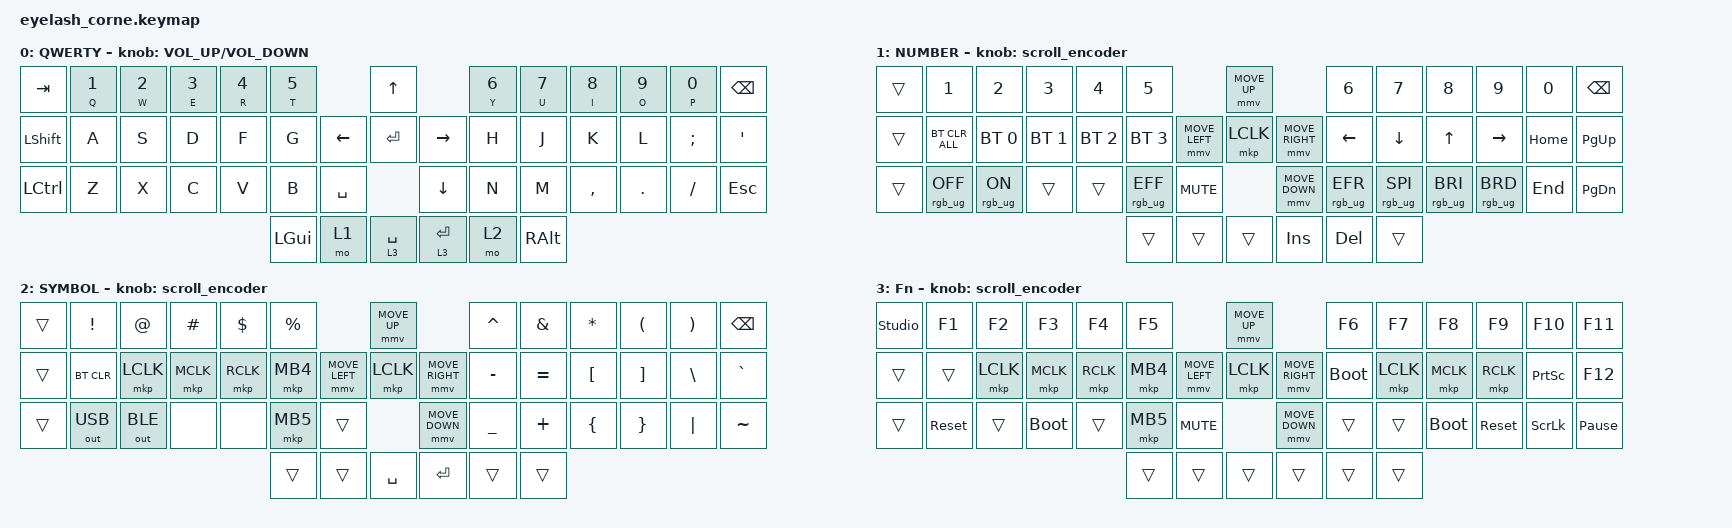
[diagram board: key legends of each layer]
#define ZMK_POINTING_DEFAULT_MOVE_VAL 1200  // 600
#define ZMK_POINTING_DEFAULT_SCRL_VAL 25   // 10

#include <input/processors.dtsi>
#include <zephyr/dt-bindings/input/input-event-codes.h>
#include <behaviors.dtsi>
#include <dt-bindings/zmk/bt.h>
#include <dt-bindings/zmk/keys.h>
#include <dt-bindings/zmk/outputs.h>
#include <dt-bindings/zmk/pointing.h>
#include <dt-bindings/zmk/rgb.h>

&mmv_input_listener {
  input-processors = <&zip_xy_scaler 2 1>;
};

&msc_input_listener {
  input-processors = <&zip_scroll_scaler 2 1>;
};

&msc {
    acceleration-exponent = <1>;      // 0
    time-to-max-speed-ms = <100>;     // 300
    delay-ms = <0>;                   // 0
};

&mmv {
    time-to-max-speed-ms = <500>;
    acceleration-exponent = <1>;
    trigger-period-ms = <16>;
};

&soft_off {
  hold-time-ms = <2000>;
};

/ {
    behaviors {
        ht: hold_tap {
            compatible = "zmk,behavior-hold-tap";
            display-name = "Hold+Tap";
            bindings = <&kp>, <&kp>;
            #binding-cells = <2>;
            tapping-term-ms = <125>;
            flavor = "tap-preferred";
            quick-tap-ms = <200>;
        };
        ht00: hold_tap_00 {
            compatible = "zmk,behavior-hold-tap";
            display-name = "Hold+Tap <100>";
            bindings = <&kp>, <&kp>;
            #binding-cells = <2>;
            tapping-term-ms = <100>;
            flavor = "tap-preferred";
            quick-tap-ms = <200>;
        };
        ht10: hold_tap_10 {
            compatible = "zmk,behavior-hold-tap";
            display-name = "Hold+Tap <110>";
            bindings = <&kp>, <&kp>;
            #binding-cells = <2>;
            tapping-term-ms = <110>;
            flavor = "tap-preferred";
            quick-tap-ms = <200>;
        };
        ht20: hold_tap_20 {
            compatible = "zmk,behavior-hold-tap";
            display-name = "Hold+Tap <120>";
            bindings = <&kp>, <&kp>;
            #binding-cells = <2>;
            tapping-term-ms = <120>;
            flavor = "tap-preferred";
            quick-tap-ms = <200>;
        };
        ht30: hold_tap_30 {
            compatible = "zmk,behavior-hold-tap";
            display-name = "Hold+Tap <130>";
            bindings = <&kp>, <&kp>;
            #binding-cells = <2>;
            tapping-term-ms = <130>;
            flavor = "tap-preferred";
            quick-tap-ms = <200>;
        };
        ht40: hold_tap_40 {
            compatible = "zmk,behavior-hold-tap";
            display-name = "Hold+Tap <140>";
            bindings = <&kp>, <&kp>;
            #binding-cells = <2>;
            tapping-term-ms = <140>;
            flavor = "tap-preferred";
            quick-tap-ms = <200>;
        };
        ht50: hold_tap_50 {
            compatible = "zmk,behavior-hold-tap";
            display-name = "Hold+Tap <150>";
            bindings = <&kp>, <&kp>;
            #binding-cells = <2>;
            tapping-term-ms = <150>;
            flavor = "tap-preferred";
            quick-tap-ms = <200>;
        };
    };

    rgb_encoder: rgb_encoder {
        compatible = "zmk,behavior-sensor-rotate";
        #sensor-binding-cells = <0>;
        bindings = <&rgb_ug RGB_BRI>, <&rgb_ug RGB_BRD>;
    };

    scroll_encoder: scroll_encoder {
        compatible = "zmk,behavior-sensor-rotate";
        #sensor-binding-cells = <0>;
        bindings = <&msc SCRL_DOWN>, <&msc SCRL_UP>;
        tap-ms = <100>;
    };

    combos {
        compatible = "zmk,combos";

        softoff {
            bindings = <&soft_off>;
            key-positions = <1 15 29>;
        };
    };

    keymap {
        compatible = "zmk,keymap";

        default_layer {
            display-name = "QWERTY";
            bindings = <
&kp TAB    &ht20 Q N1  &ht20 W N2  &ht20 E N3     &ht20 R N4  &ht20 T N5                                                              &kp UP                   &ht20 Y N6         &ht20 U N7             &ht20 I N8           &ht20 O N9                    &ht20 P N0               &kp BSPC
&kp LEFT_SHIFT    &kp A  &kp S  &kp D  &kp F  &kp G                     &kp LEFT  &kp ENTER  &kp RIGHT      &kp H   &kp J   &kp K   &kp L   &kp SEMICOLON   &kp SQT
&kp LCTRL  &kp Z  &kp X  &kp C     &kp V  &kp B        &kp SPACE                                                        &kp DOWN                 &kp N         &kp M           &kp COMMA        &kp DOT                 &kp FSLH              &kp ESC
                                                                                        &kp LGUI  &mo 1  &lt 3 SPACE                           &lt 3 ENTER  &mo 2  &kp RALT
            >;

            sensor-bindings = <&inc_dec_kp C_VOLUME_UP C_VOLUME_DOWN>;
        };

        lower_layer {
            display-name = "NUMBER";
            bindings = <
&trans  &kp N1           &kp N2          &kp N3        &kp N4        &kp N5                                                                     &mmv MOVE_UP                     &kp N6           &kp N7           &kp N8           &kp N9           &kp N0    &kp BSPC
&trans  &bt BT_CLR_ALL   &bt BT_SEL 0    &bt BT_SEL 1  &bt BT_SEL 2  &bt BT_SEL 3                                               &mmv MOVE_LEFT  &mkp LCLK       &mmv MOVE_RIGHT  &kp LEFT         &kp DOWN         &kp UP           &kp RIGHT        &kp HOME  &kp PG_UP
&trans  &rgb_ug RGB_OFF  &rgb_ug RGB_ON  &trans        &trans        &rgb_ug RGB_EFF          &kp C_MUTE                                      &mmv MOVE_DOWN                   &rgb_ug RGB_EFR  &rgb_ug RGB_SPI  &rgb_ug RGB_BRI  &rgb_ug RGB_BRD  &kp END   &kp PG_DN
                                                                           &trans   &trans   &trans                                           &kp INS    &kp DEL    &trans
            >;

            sensor-bindings = <&scroll_encoder>;
        };

        raise_layer {
            display-name = "SYMBOL";
            bindings = <
&trans  &kp EXCL      &kp AT        &kp HASH   &kp DLLR   &kp PRCNT                            &mmv MOVE_UP                     &kp CARET  &kp AMPS   &kp ASTRK  &kp LPAR  &kp RPAR  &kp BSPC
&trans  &bt BT_CLR    &mkp LCLK     &mkp MCLK  &mkp RCLK  &mkp MB4             &mmv MOVE_LEFT  &mkp LCLK       &mmv MOVE_RIGHT  &kp MINUS  &kp EQUAL  &kp LBKT   &kp RBKT  &kp BSLH  &kp GRAVE
&trans  &out OUT_USB  &out OUT_BLE  &none      &none      &mkp MB5   &trans                    &mmv MOVE_DOWN                   &kp UNDER  &kp PLUS   &kp LBRC   &kp RBRC  &kp PIPE  &kp TILDE
                                    &trans     &trans     &kp SPACE                                                             &kp RET    &trans     &trans
            >;

            sensor-bindings = <&scroll_encoder>;
        };

        layer_3 {
            display-name = "Fn";
            bindings = <
&studio_unlock  &kp F1      &kp F2     &kp F3       &kp F4     &kp F5                                  &mmv MOVE_UP                     &kp F6       &kp F7     &kp F8       &kp F9      &kp F10          &kp F11
&trans          &trans      &mkp LCLK  &mkp MCLK    &mkp RCLK  &mkp MB4                &mmv MOVE_LEFT  &mkp LCLK       &mmv MOVE_RIGHT  &bootloader  &mkp LCLK  &mkp MCLK    &mkp RCLK   &kp PRINTSCREEN  &kp F12
&trans          &sys_reset  &trans     &bootloader  &trans     &mkp MB5  &kp C_MUTE                    &mmv MOVE_DOWN                   &trans       &trans     &bootloader  &sys_reset  &kp SCROLLLOCK   &kp PAUSE_BREAK
                                       &trans       &trans     &trans                                                                   &trans       &trans     &trans
            >;

            sensor-bindings = <&scroll_encoder>;
        };
    };
};
